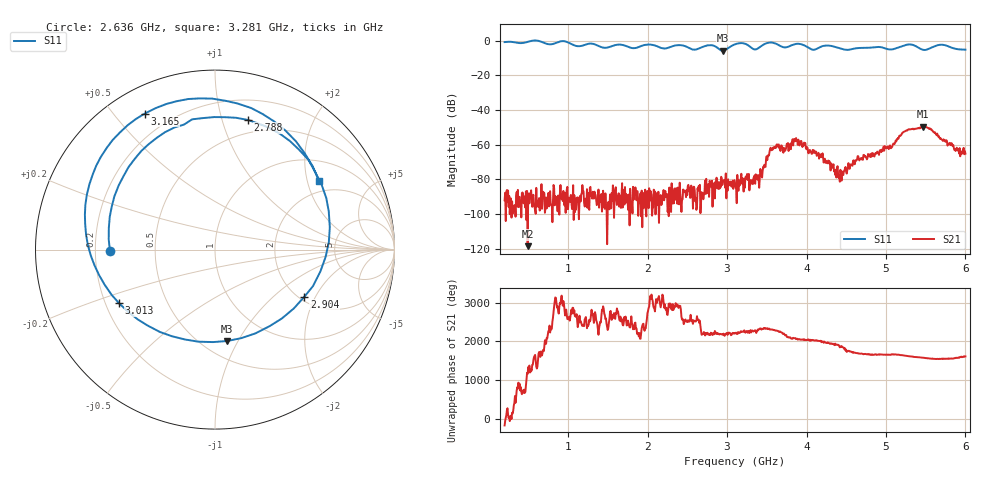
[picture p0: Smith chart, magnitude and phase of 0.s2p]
! NanoVNA-App
! Date: 2024-06-25 16:06:04
! Start: 200MHz Stop: 6GHz Points: 801
! S-Parameter data: F S11 S21 S12 S22
# Hz S RI R 50
!  Frequency  S11_Real  S11_Imag  S21_Real  S21_Imag  S12_Real  S12_Imag  S22_Real  S22_Imag
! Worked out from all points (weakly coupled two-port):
!   801 points, 200 MHz to 6 GHz, reference 50 ohm
!   highest |S21| = -49.70 dB at 5.463 GHz (marker M1); lowest = -118.6 dB at 490 MHz (marker M2)
!   lowest |S11| = -5.8 dB at 2.948 GHz (marker M3), VSWR 3.11, Z = 32.7 - j45.2 ohm
!   |S11| at or under -10 dB: nowhere
!   S12 and S22 are empty: the file has one direction only
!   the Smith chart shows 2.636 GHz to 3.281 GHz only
!   S11 on the Smith chart (normalised r, x): 2.636 GHz: 0.26, -0.01; 2.788 GHz: 0.37, +1.22; 2.904 GHz: 2.13, -1.64; 3.013 GHz: 0.26, -0.24; 3.165 GHz: 0.11, +0.60; 3.281 GHz: 1.59, +2.36
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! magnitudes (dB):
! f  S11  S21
! 200 MHz  -0.8  -92.1
! 490 MHz  -0.6  -118.6
! 1.171 GHz  -2.9  -88.2
! 2.136 GHz  -3.5  -87.2
! 2.636 GHz  -4.6  -86.5
! 2.788 GHz  -2.6  -82.6
! 2.904 GHz  -5.0  -85.4
! 2.948 GHz  -5.8  -81.3
! 3.013 GHz  -4.3  -80.0
! 3.1 GHz  -2.1  -82.0
! 3.165 GHz  -1.4  -82.2
! 3.281 GHz  -3.2  -86.4
! 3.412 GHz  -3.7  -78.9
! 3.622 GHz  -1.8  -60.1
! 3.869 GHz  -1.8  -56.2
! 4.072 GHz  -5.1  -65.2
! 4.434 GHz  -4.5  -77.2
! 4.644 GHz  -4.3  -66.6
! 5.036 GHz  -5.0  -62.6
! 5.231 GHz  -2.7  -52.5
! 5.463 GHz  -5.2  -49.7
! 6 GHz  -5.2  -65.1
